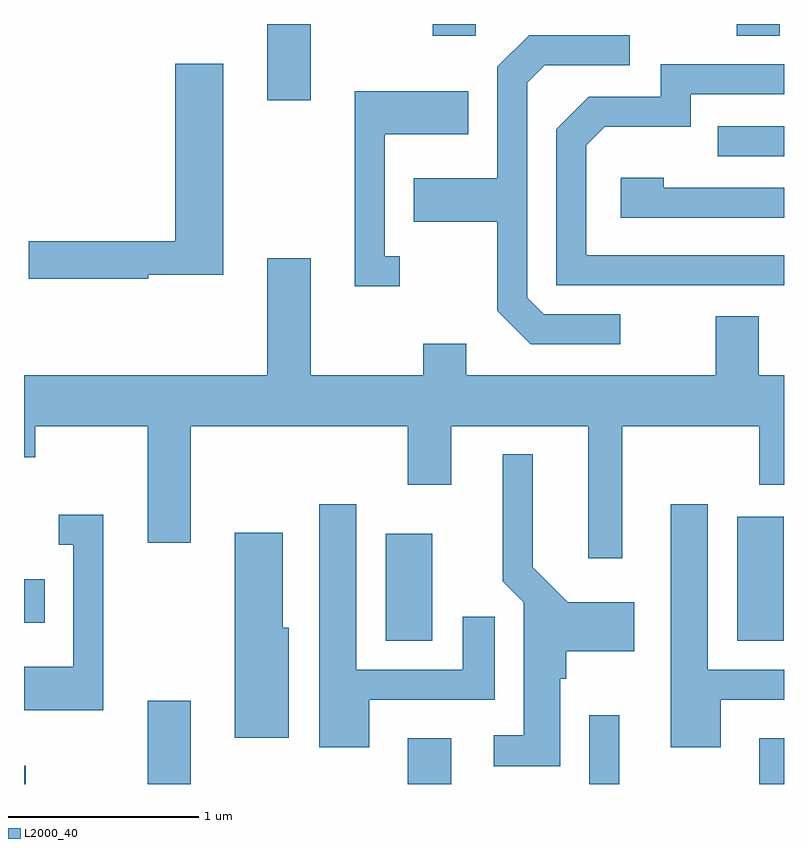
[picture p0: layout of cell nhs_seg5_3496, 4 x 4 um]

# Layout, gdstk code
import gdstk
lib = gdstk.Library(unit=1e-6, precision=1e-09)
def R(c, l, rs):  # rectangles x0, y0, x1, y1
    for r in rs: c.add(gdstk.rectangle(r[:2], r[2:], *l))
def P(c, l, *ps):  # polygons
    for p in ps: c.add(gdstk.Polygon(p, *l))
L2000_40 = (2000, 40)

nhs_seg5_3496 = lib.new_cell('nhs_seg5_3496')
R(nhs_seg5_3496, L2000_40, [(289.611,1406.072,289.619,1406.169), (290.261,1406.072,290.489,1406.509), (291.631,1406.072,291.859,1406.314), (292.586,1406.072,292.744,1406.433), (293.481,1406.072,293.611,1406.314), (291.516,1406.826,291.759,1407.389), (293.366,1406.826,293.609,1407.479), (289.611,1406.921,289.719,1407.149), (293.263,1409.376,293.611,1409.534), (290.891,1409.671,291.119,1410.072), (291.761,1410.011,291.989,1410.072), (293.361,1410.011,293.589,1410.072)])
P(nhs_seg5_3496, L2000_40, [(292.748,1408.544),(292.347,1408.544),(292.259,1408.632),(292.259,1409.764),(292.352,1409.856),(292.798,1409.856),(292.798,1410.014),(292.269,1410.014),(292.101,1409.847),(292.101,1409.259),(291.661,1409.259),(291.661,1409.031),(292.101,1409.031),(292.101,1408.564),(292.279,1408.386),(292.748,1408.386)],
  [(290.264,1408.751),(290.659,1408.751),(290.659,1409.864),(290.406,1409.864),(290.406,1408.929),(289.636,1408.929),(289.636,1408.731),(290.264,1408.731)],
  [(293.611,1408.854),(292.569,1408.854),(292.569,1409.434),(292.667,1409.531),(293.119,1409.531),(293.119,1409.701),(293.611,1409.701),(293.611,1409.859),(292.961,1409.859),(292.961,1409.689),(292.584,1409.689),(292.411,1409.517),(292.411,1408.696),(293.611,1408.696)],
  [(291.588,1408.849),(291.509,1408.849),(291.509,1409.491),(291.949,1409.491),(291.949,1409.719),(291.351,1409.719),(291.351,1408.691),(291.588,1408.691)],
  [(293.611,1409.209),(292.979,1409.209),(292.979,1409.264),(292.751,1409.264),(292.751,1409.051),(293.611,1409.051)],
  [(292.759,1407.956),(293.481,1407.956),(293.481,1407.646),(293.611,1407.646),(293.611,1408.224),(293.479,1408.224),(293.479,1408.534),(293.251,1408.534),(293.251,1408.224),(291.939,1408.224),(291.939,1408.389),(291.711,1408.389),(291.711,1408.224),(291.119,1408.224),(291.119,1408.839),(290.891,1408.839),(290.891,1408.224),(289.611,1408.224),(289.611,1407.791),(289.669,1407.791),(289.669,1407.956),(290.261,1407.956),(290.261,1407.341),(290.489,1407.341),(290.489,1407.956),(291.631,1407.956),(291.631,1407.646),(291.859,1407.646),(291.859,1407.956),(292.581,1407.956),(292.581,1407.261),(292.759,1407.261)],
  [(292.434,1406.626),(292.464,1406.626),(292.464,1406.771),(292.824,1406.771),(292.824,1407.029),(292.472,1407.029),(292.289,1407.212),(292.289,1407.808),(292.131,1407.808),(292.131,1407.139),(292.241,1407.029),(292.241,1406.329),(292.083,1406.329),(292.083,1406.166),(292.434,1406.166)],
  [(293.279,1406.516),(293.611,1406.516),(293.611,1406.674),(293.209,1406.674),(293.209,1407.544),(293.016,1407.544),(293.016,1406.266),(293.279,1406.266)],
  [(291.429,1406.516),(292.089,1406.516),(292.089,1406.953),(291.921,1406.953),(291.921,1406.674),(291.359,1406.674),(291.359,1407.544),(291.166,1407.544),(291.166,1406.266),(291.429,1406.266)],
  [(290.029,1407.489),(289.793,1407.489),(289.793,1407.331),(289.871,1407.331),(289.871,1406.689),(289.611,1406.689),(289.611,1406.461),(290.029,1406.461)],
  [(291.004,1406.894),(290.974,1406.894),(290.974,1407.394),(290.721,1407.394),(290.721,1406.316),(291.004,1406.316)])

lib.write_gds('nhs_seg5_3496.gds')
